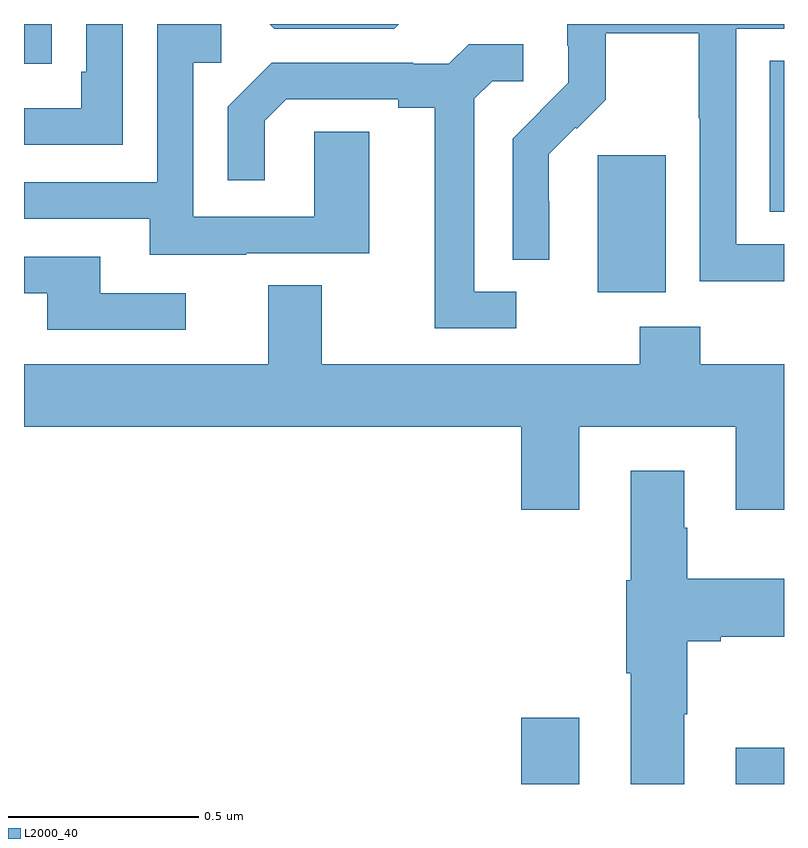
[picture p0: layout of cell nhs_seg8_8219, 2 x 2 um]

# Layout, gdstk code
import gdstk
lib = gdstk.Library(unit=1e-6, precision=1e-09)
def R(c, l, rs):  # rectangles x0, y0, x1, y1
    for r in rs: c.add(gdstk.rectangle(r[:2], r[2:], *l))
def P(c, l, *ps):  # polygons
    for p in ps: c.add(gdstk.Polygon(p, *l))
L2000_40 = (2000, 40)

nhs_seg8_8219 = lib.new_cell('nhs_seg8_8219')
R(nhs_seg8_8219, L2000_40, [(221.309,1108.9,221.461,1109.074), (221.873,1108.9,222,1108.996), (221.51,1110.194,221.689,1110.555), (221.963,1110.406,222,1110.803), (220,1110.796,220.073,1110.9)])
P(nhs_seg8_8219, L2000_40, [(222,1110.321),(221.874,1110.321),(221.874,1110.888),(222,1110.888),(222,1110.9),(221.43,1110.9),(221.43,1110.843),(221.432,1110.843),(221.432,1110.746),(221.358,1110.672),(221.359,1110.671),(221.286,1110.598),(221.286,1110.28),(221.382,1110.28),(221.382,1110.434),(221.381,1110.434),(221.381,1110.557),(221.451,1110.627),(221.454,1110.624),(221.531,1110.701),(221.531,1110.876),(221.776,1110.876),(221.776,1110.652),(221.778,1110.652),(221.778,1110.223),(222,1110.223)],
  [(220.986,1110.9),(220.647,1110.9),(220.659,1110.888),(220.974,1110.888)],
  [(220.26,1110.9),(220.164,1110.9),(220.164,1110.775),(220.151,1110.775),(220.151,1110.678),(220,1110.678),(220,1110.582),(220.26,1110.582)],
  [(220.585,1110.297),(220.909,1110.297),(220.909,1110.617),(220.764,1110.617),(220.764,1110.393),(220.446,1110.393),(220.446,1110.798),(220.519,1110.798),(220.519,1110.899),(220.35,1110.899),(220.35,1110.483),(220,1110.483),(220,1110.387),(220.331,1110.387),(220.331,1110.293),(220.585,1110.293)],
  [(221.296,1110.195),(221.185,1110.195),(221.185,1110.703),(221.232,1110.75),(221.314,1110.75),(221.314,1110.847),(221.17,1110.847),(221.118,1110.795),(221.024,1110.795),(221.024,1110.798),(220.652,1110.798),(220.536,1110.682),(220.536,1110.489),(220.633,1110.489),(220.633,1110.645),(220.69,1110.702),(220.985,1110.702),(220.985,1110.68),(221.081,1110.68),(221.081,1110.099),(221.296,1110.099)],
  [(220.426,1110.192),(220.201,1110.192),(220.201,1110.288),(220,1110.288),(220,1110.192),(220.061,1110.192),(220.061,1110.096),(220.426,1110.096)],
  [(221.461,1109.84),(221.873,1109.84),(221.873,1109.622),(222,1109.622),(222,1110.004),(221.78,1110.004),(221.78,1110.103),(221.62,1110.103),(221.62,1110.004),(220.783,1110.004),(220.783,1110.212),(220.643,1110.212),(220.643,1110.004),(220,1110.004),(220,1109.84),(221.309,1109.84),(221.309,1109.622),(221.461,1109.622)],
  [(221.737,1109.083),(221.745,1109.083),(221.745,1109.276),(221.833,1109.276),(221.833,1109.288),(222,1109.288),(222,1109.44),(221.745,1109.44),(221.745,1109.574),(221.737,1109.574),(221.737,1109.725),(221.597,1109.725),(221.597,1109.436),(221.585,1109.436),(221.585,1109.192),(221.597,1109.192),(221.597,1108.9),(221.737,1108.9)])

lib.write_gds('nhs_seg8_8219.gds')
